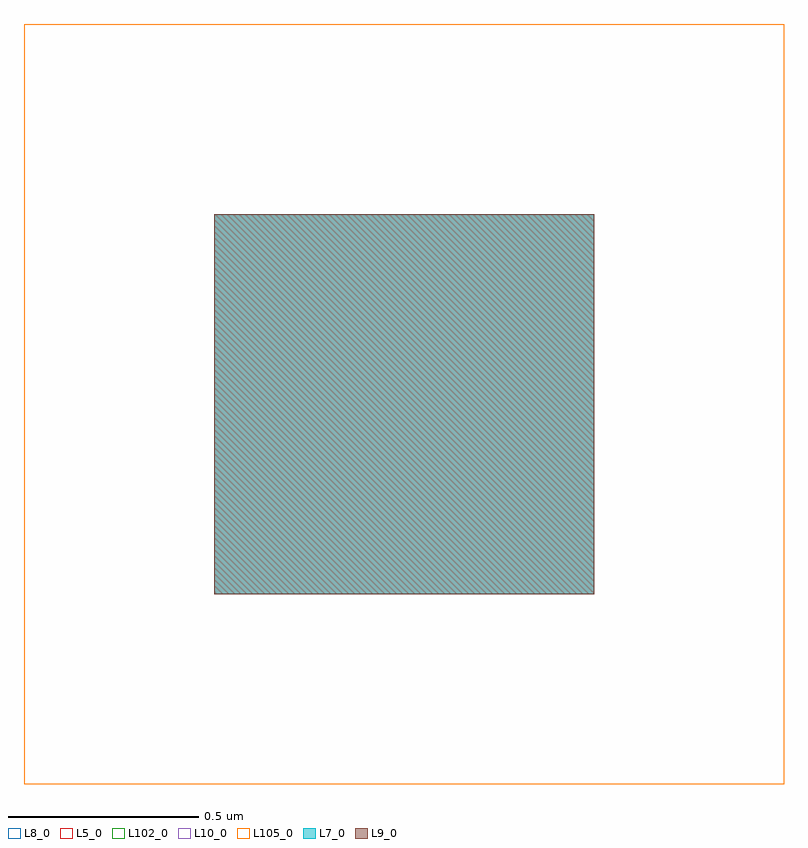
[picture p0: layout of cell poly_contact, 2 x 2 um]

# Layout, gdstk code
import gdstk
lib = gdstk.Library(unit=1e-6, precision=1e-07)
def R(c, l, rs):  # rectangles x0, y0, x1, y1
    for r in rs: c.add(gdstk.rectangle(r[:2], r[2:], *l))
L5_0 = (5, 0)
L7_0 = (7, 0)
L8_0 = (8, 0)
L9_0 = (9, 0)
L10_0 = (10, 0)
L102_0 = (102, 0)
L105_0 = (105, 0)

poly_contact = lib.new_cell('poly_contact')
R(poly_contact, L5_0, [(264.2,50.1,266.2,52.1)])
R(poly_contact, L7_0, [(264.7,50.6,265.7,51.6)])
R(poly_contact, L8_0, [(264.2,50.1,266.2,52.1)])
R(poly_contact, L9_0, [(264.7,50.6,265.7,51.6)])
R(poly_contact, L10_0, [(264.2,50.1,266.2,52.1)])
R(poly_contact, L102_0, [(264.2,50.1,266.2,52.1)])
R(poly_contact, L105_0, [(264.2,50.1,266.2,52.1)])

lib.write_gds('poly_contact.gds')
